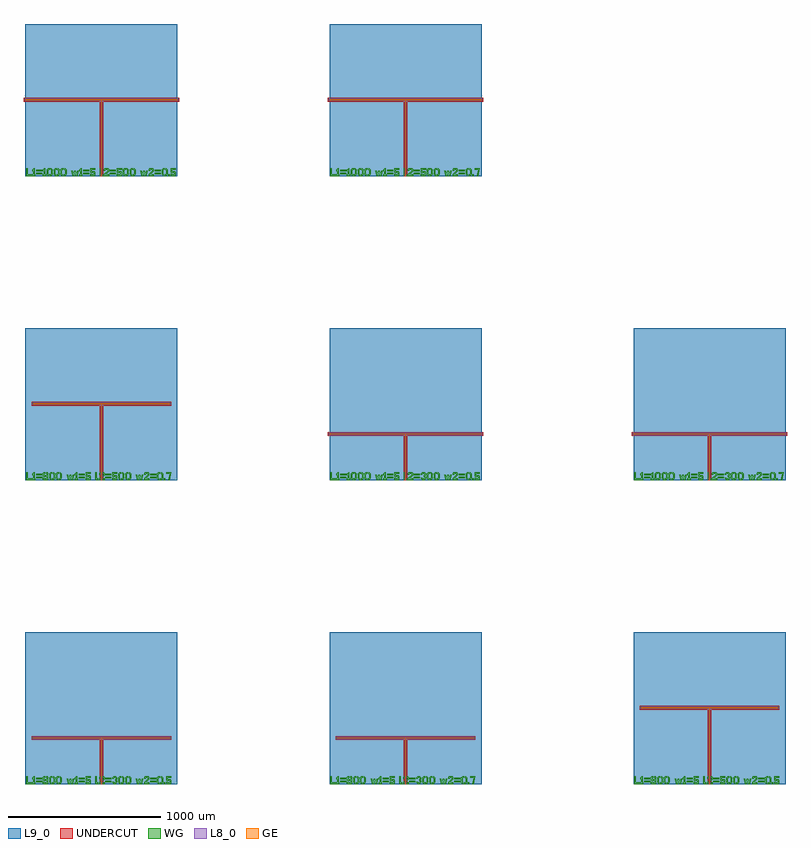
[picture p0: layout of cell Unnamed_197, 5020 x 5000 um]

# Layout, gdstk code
import gdstk
lib = gdstk.Library(unit=1e-6, precision=1e-09)
def R(c, l, rs):  # rectangles x0, y0, x1, y1
    for r in rs: c.add(gdstk.rectangle(r[:2], r[2:], *l))
def P(c, l, *ps):  # polygons
    for p in ps: c.add(gdstk.Polygon(p, *l))
WG = (1, 0)
GE = (5, 0)
UNDERCUT = (6, 0)
L8_0 = (8, 0)
L9_0 = (9, 0)

rectangle_s1010_15_l8_0_ = lib.new_cell('rectangle_S1010_15_L8_0_e804bbd6')
R(rectangle_s1010_15_l8_0_, L8_0, [(0,0,1010,15)])

rectangle_s10p5_495_l8__ = lib.new_cell('rectangle_S10p5_495_L8__a2ef8117')
R(rectangle_s10p5_495_l8__, L8_0, [(0,0,10.5,495)])

rectangle_s1020_25_l6_0_ = lib.new_cell('rectangle_S1020_25_L6_0_10ee7e5b')
R(rectangle_s1020_25_l6_0_, UNDERCUT, [(0,0,1020,25)])

rectangle_s20p5_490_l6__ = lib.new_cell('rectangle_S20p5_490_L6__59c9b7bc')
R(rectangle_s20p5_490_l6__, UNDERCUT, [(0,0,20.5,490)])

rectangle_s1000_5_l5_0__ = lib.new_cell('rectangle_S1000_5_L5_0__84b42d38')
R(rectangle_s1000_5_l5_0__, GE, [(0,0,1000,5)])

rectangle_s0p5_500_l5_0_ = lib.new_cell('rectangle_S0p5_500_L5_0_ba7ba93c')
R(rectangle_s0p5_500_l5_0_, GE, [(0,0,0.5,500)])

unnamed_194 = lib.new_cell('Unnamed_194')
unnamed_194.add(gdstk.Reference(rectangle_s1010_15_l8_0_, (-505,495)))
unnamed_194.add(gdstk.Reference(rectangle_s10p5_495_l8__, (-5.25,0)))
unnamed_194.add(gdstk.Reference(rectangle_s1020_25_l6_0_, (-510,490)))
unnamed_194.add(gdstk.Reference(rectangle_s20p5_490_l6__, (-10.25,0)))
unnamed_194.add(gdstk.Reference(rectangle_s1000_5_l5_0__, (-500,500)))
unnamed_194.add(gdstk.Reference(rectangle_s0p5_500_l5_0_, (-0.25,0)))

rectangle_s0p7_300_l5_0_ = lib.new_cell('rectangle_S0p7_300_L5_0_106584ea')
R(rectangle_s0p7_300_l5_0_, GE, [(0,0,0.7,300)])

rectangle_s20p7_290_l6__ = lib.new_cell('rectangle_S20p7_290_L6__7863e632')
R(rectangle_s20p7_290_l6__, UNDERCUT, [(0,0,20.7,290)])

rectangle_s10p7_295_l8__ = lib.new_cell('rectangle_S10p7_295_L8__5a437f7c')
R(rectangle_s10p7_295_l8__, L8_0, [(0,0,10.7,295)])

unnamed_193 = lib.new_cell('Unnamed_193')
unnamed_193.add(gdstk.Reference(rectangle_s0p7_300_l5_0_, (-0.35,0)))
unnamed_193.add(gdstk.Reference(rectangle_s1020_25_l6_0_, (-510,290)))
unnamed_193.add(gdstk.Reference(rectangle_s20p7_290_l6__, (-10.35,0)))
unnamed_193.add(gdstk.Reference(rectangle_s1000_5_l5_0__, (-500,300)))
unnamed_193.add(gdstk.Reference(rectangle_s1010_15_l8_0_, (-505,295)))
unnamed_193.add(gdstk.Reference(rectangle_s10p7_295_l8__, (-5.35,0)))

text_tl11000_w15_l2300__ = lib.new_cell('text_TL11000_w15_l2300__988f0f13')
R(text_tl11000_w15_l2300__, WG, [(940,0,950,10), (70,10,110,20), (380,10,420,20), (555,10,595,20), (850,10,890,20), (70,30,110,40), (380,30,420,40), (555,30,595,40), (850,30,890,40)])
P(text_tl11000_w15_l2300__, WG, [(970,0),(978,40),(955,40),(955,50),(990,50),(980,0)],
  [(495,0),(490,5),(490,50),(500,50),(500,10),(510,10),(510,0)],
  [(310,0),(300,35),(310,35),(315,17.5),(320,35),(330,35),(335,17.5),(340,35),(350,35),(340,0),(330,0),(325,17.5),(320,0)],
  [(765,0),(755,35),(765,35),(770,17.5),(775,35),(785,35),(790,17.5),(795,35),(805,35),(795,0),(785,0),(780,17.5),(775,0)],
  [(430,0),(425,5),(425,15),(435,15),(435,10),(450,10),(450,20),(430,20),(425,25),(425,50),(460,50),(460,40),(435,40),(435,30),(455,30),(460,25),(460,5),(455,0)],
  [(515,0),(515,10),(540,35),(540,40),(525,40),(525,35),(515,35),(515,45),(520,50),(545,50),(550,45),(550,30),(530,10),(550,10),(550,0)],
  [(810,0),(810,10),(835,35),(835,40),(820,40),(820,35),(810,35),(810,45),(815,50),(840,50),(845,45),(845,30),(825,10),(845,10),(845,0)],
  [(158.5,0),(161,10),(165,10),(170,15),(170,35),(165,40),(167.5,50),(170,50),(180,40),(180,10),(170,0)],
  [(203.5,0),(206,10),(210,10),(215,15),(215,35),(210,40),(212.5,50),(215,50),(225,40),(225,10),(215,0)],
  [(248.5,0),(251,10),(255,10),(260,15),(260,35),(255,40),(257.5,50),(260,50),(270,40),(270,10),(260,0)],
  [(658.5,0),(661,10),(665,10),(670,15),(670,35),(665,40),(667.5,50),(670,50),(680,40),(680,10),(670,0)],
  [(703.5,0),(706,10),(710,10),(715,15),(715,35),(710,40),(712.5,50),(715,50),(725,40),(725,10),(715,0)],
  [(913.5,0),(916,10),(920,10),(925,15),(925,35),(920,40),(922.5,50),(925,50),(935,40),(935,10),(925,0)],
  [(150,0),(140,10),(140,40),(150,50),(161.5,50),(159,40),(155,40),(150,35),(150,15),(155,10),(152.5,0)],
  [(195,0),(185,10),(185,40),(195,50),(206.5,50),(204,40),(200,40),(195,35),(195,15),(200,10),(197.5,0)],
  [(240,0),(230,10),(230,40),(240,50),(251.5,50),(249,40),(245,40),(240,35),(240,15),(245,10),(242.5,0)],
  [(650,0),(640,10),(640,40),(650,50),(661.5,50),(659,40),(655,40),(650,35),(650,15),(655,10),(652.5,0)],
  [(695,0),(685,10),(685,40),(695,50),(706.5,50),(704,40),(700,40),(695,35),(695,15),(700,10),(697.5,0)],
  [(905,0),(895,10),(895,40),(905,50),(916.5,50),(914,40),(910,40),(905,35),(905,15),(910,10),(907.5,0)],
  [(610,0),(600,10),(600,15),(610,15),(615,10),(620,10),(625,15),(620,20),(620,30),(625,35),(620,40),(615,40),(610,35),(600,35),(600,40),(610,50),(625,50),(635,40),(635,30),(630,25),(635,20),(635,10),(625,0)],
  [(5,0),(5,50),(15,50),(15,10),(40,10),(40,0)],
  [(45,0),(45,10),(50,10),(50,30),(45,30),(45,40),(55,50),(60,50),(60,10),(65,10),(65,0)],
  [(115,0),(115,10),(120,10),(120,30),(115,30),(115,40),(125,50),(130,50),(130,10),(135,10),(135,0)],
  [(355,0),(355,10),(360,10),(360,30),(355,30),(355,40),(365,50),(370,50),(370,10),(375,10),(375,0)])

rectangle_s920_25_l6_0__ = lib.new_cell('rectangle_S920_25_L6_0__c2643c97')
R(rectangle_s920_25_l6_0__, UNDERCUT, [(0,0,920,25)])

rectangle_s0p7_500_l5_0_ = lib.new_cell('rectangle_S0p7_500_L5_0_5f5ccab6')
R(rectangle_s0p7_500_l5_0_, GE, [(0,0,0.7,500)])

rectangle_s20p7_490_l6__ = lib.new_cell('rectangle_S20p7_490_L6__c76dff1f')
R(rectangle_s20p7_490_l6__, UNDERCUT, [(0,0,20.7,490)])

rectangle_s900_5_l5_0_c_ = lib.new_cell('rectangle_S900_5_L5_0_C_e98a737c')
R(rectangle_s900_5_l5_0_c_, GE, [(0,0,900,5)])

rectangle_s910_15_l8_0__ = lib.new_cell('rectangle_S910_15_L8_0__1d112a65')
R(rectangle_s910_15_l8_0__, L8_0, [(0,0,910,15)])

rectangle_s10p7_495_l8__ = lib.new_cell('rectangle_S10p7_495_L8__2b4584b7')
R(rectangle_s10p7_495_l8__, L8_0, [(0,0,10.7,495)])

unnamed_191 = lib.new_cell('Unnamed_191')
unnamed_191.add(gdstk.Reference(rectangle_s920_25_l6_0__, (-460,490)))
unnamed_191.add(gdstk.Reference(rectangle_s0p7_500_l5_0_, (-0.35,0)))
unnamed_191.add(gdstk.Reference(rectangle_s20p7_490_l6__, (-10.35,0)))
unnamed_191.add(gdstk.Reference(rectangle_s900_5_l5_0_c_, (-450,500)))
unnamed_191.add(gdstk.Reference(rectangle_s910_15_l8_0__, (-455,495)))
unnamed_191.add(gdstk.Reference(rectangle_s10p7_495_l8__, (-5.35,0)))

text_tl11000_w15_l2500__ = lib.new_cell('text_TL11000_w15_l2500__ddd6ca30')
R(text_tl11000_w15_l2500__, WG, [(940,0,950,10), (70,10,110,20), (380,10,420,20), (555,10,595,20), (850,10,890,20), (70,30,110,40), (380,30,420,40), (555,30,595,40), (850,30,890,40)])
P(text_tl11000_w15_l2500__, WG, [(495,0),(490,5),(490,50),(500,50),(500,10),(510,10),(510,0)],
  [(430,0),(425,5),(425,15),(435,15),(435,10),(450,10),(450,20),(430,20),(425,25),(425,50),(460,50),(460,40),(435,40),(435,30),(455,30),(460,25),(460,5),(455,0)],
  [(605,0),(600,5),(600,15),(610,15),(610,10),(625,10),(625,20),(605,20),(600,25),(600,50),(635,50),(635,40),(610,40),(610,30),(630,30),(635,25),(635,5),(630,0)],
  [(960,0),(955,5),(955,15),(965,15),(965,10),(980,10),(980,20),(960,20),(955,25),(955,50),(990,50),(990,40),(965,40),(965,30),(985,30),(990,25),(990,5),(985,0)],
  [(515,0),(515,10),(540,35),(540,40),(525,40),(525,35),(515,35),(515,45),(520,50),(545,50),(550,45),(550,30),(530,10),(550,10),(550,0)],
  [(810,0),(810,10),(835,35),(835,40),(820,40),(820,35),(810,35),(810,45),(815,50),(840,50),(845,45),(845,30),(825,10),(845,10),(845,0)],
  [(158.5,0),(161,10),(165,10),(170,15),(170,35),(165,40),(167.5,50),(170,50),(180,40),(180,10),(170,0)],
  [(203.5,0),(206,10),(210,10),(215,15),(215,35),(210,40),(212.5,50),(215,50),(225,40),(225,10),(215,0)],
  [(248.5,0),(251,10),(255,10),(260,15),(260,35),(255,40),(257.5,50),(260,50),(270,40),(270,10),(260,0)],
  [(658.5,0),(661,10),(665,10),(670,15),(670,35),(665,40),(667.5,50),(670,50),(680,40),(680,10),(670,0)],
  [(703.5,0),(706,10),(710,10),(715,15),(715,35),(710,40),(712.5,50),(715,50),(725,40),(725,10),(715,0)],
  [(913.5,0),(916,10),(920,10),(925,15),(925,35),(920,40),(922.5,50),(925,50),(935,40),(935,10),(925,0)],
  [(150,0),(140,10),(140,40),(150,50),(161.5,50),(159,40),(155,40),(150,35),(150,15),(155,10),(152.5,0)],
  [(195,0),(185,10),(185,40),(195,50),(206.5,50),(204,40),(200,40),(195,35),(195,15),(200,10),(197.5,0)],
  [(240,0),(230,10),(230,40),(240,50),(251.5,50),(249,40),(245,40),(240,35),(240,15),(245,10),(242.5,0)],
  [(650,0),(640,10),(640,40),(650,50),(661.5,50),(659,40),(655,40),(650,35),(650,15),(655,10),(652.5,0)],
  [(695,0),(685,10),(685,40),(695,50),(706.5,50),(704,40),(700,40),(695,35),(695,15),(700,10),(697.5,0)],
  [(905,0),(895,10),(895,40),(905,50),(916.5,50),(914,40),(910,40),(905,35),(905,15),(910,10),(907.5,0)],
  [(5,0),(5,50),(15,50),(15,10),(40,10),(40,0)],
  [(310,0),(300,35),(310,35),(315,17.5),(320,35),(330,35),(335,17.5),(340,35),(350,35),(340,0),(330,0),(325,17.5),(320,0)],
  [(765,0),(755,35),(765,35),(770,17.5),(775,35),(785,35),(790,17.5),(795,35),(805,35),(795,0),(785,0),(780,17.5),(775,0)],
  [(45,0),(45,10),(50,10),(50,30),(45,30),(45,40),(55,50),(60,50),(60,10),(65,10),(65,0)],
  [(115,0),(115,10),(120,10),(120,30),(115,30),(115,40),(125,50),(130,50),(130,10),(135,10),(135,0)],
  [(355,0),(355,10),(360,10),(360,30),(355,30),(355,40),(365,50),(370,50),(370,10),(375,10),(375,0)])

text_tl1900_w15_l2500_w_ = lib.new_cell('text_TL1900_w15_l2500_w_6159fc1c')
R(text_tl1900_w15_l2500_w_, WG, [(910,0,920,10), (70,10,110,20), (350,10,390,20), (525,10,565,20), (820,10,860,20), (70,30,110,40), (350,30,390,40), (525,30,565,40), (820,30,860,40)])
P(text_tl1900_w15_l2500_w_, WG, [(465,0),(460,5),(460,50),(470,50),(470,10),(480,10),(480,0)],
  [(400,0),(395,5),(395,15),(405,15),(405,10),(420,10),(420,20),(400,20),(395,25),(395,50),(430,50),(430,40),(405,40),(405,30),(425,30),(430,25),(430,5),(425,0)],
  [(575,0),(570,5),(570,15),(580,15),(580,10),(595,10),(595,20),(575,20),(570,25),(570,50),(605,50),(605,40),(580,40),(580,30),(600,30),(605,25),(605,5),(600,0)],
  [(930,0),(925,5),(925,15),(935,15),(935,10),(950,10),(950,20),(930,20),(925,25),(925,50),(960,50),(960,40),(935,40),(935,30),(955,30),(960,25),(960,5),(955,0)],
  [(485,0),(485,10),(510,35),(510,40),(495,40),(495,35),(485,35),(485,45),(490,50),(515,50),(520,45),(520,30),(500,10),(520,10),(520,0)],
  [(780,0),(780,10),(805,35),(805,40),(790,40),(790,35),(780,35),(780,45),(785,50),(810,50),(815,45),(815,30),(795,10),(815,10),(815,0)],
  [(173.5,0),(176,10),(180,10),(185,15),(185,35),(180,40),(182.5,50),(185,50),(195,40),(195,10),(185,0)],
  [(218.5,0),(221,10),(225,10),(230,15),(230,35),(225,40),(227.5,50),(230,50),(240,40),(240,10),(230,0)],
  [(628.5,0),(631,10),(635,10),(640,15),(640,35),(635,40),(637.5,50),(640,50),(650,40),(650,10),(640,0)],
  [(673.5,0),(676,10),(680,10),(685,15),(685,35),(680,40),(682.5,50),(685,50),(695,40),(695,10),(685,0)],
  [(883.5,0),(886,10),(890,10),(895,15),(895,35),(890,40),(892.5,50),(895,50),(905,40),(905,10),(895,0)],
  [(165,0),(155,10),(155,40),(165,50),(176.5,50),(174,40),(170,40),(165,35),(165,15),(170,10),(167.5,0)],
  [(210,0),(200,10),(200,40),(210,50),(221.5,50),(219,40),(215,40),(210,35),(210,15),(215,10),(212.5,0)],
  [(620,0),(610,10),(610,40),(620,50),(631.5,50),(629,40),(625,40),(620,35),(620,15),(625,10),(622.5,0)],
  [(665,0),(655,10),(655,40),(665,50),(676.5,50),(674,40),(670,40),(665,35),(665,15),(670,10),(667.5,0)],
  [(875,0),(865,10),(865,40),(875,50),(886.5,50),(884,40),(880,40),(875,35),(875,15),(880,10),(877.5,0)],
  [(120,0),(115,5),(115,15),(125,15),(125,10),(140,10),(140,20),(120,20),(115,25),(115,45),(120,50),(130,50),(130,40),(125,40),(125,30),(140,30),(140,40),(135,40),(135,50),(145,50),(150,45),(150,5),(145,0)],
  [(5,0),(5,50),(15,50),(15,10),(40,10),(40,0)],
  [(280,0),(270,35),(280,35),(285,17.5),(290,35),(300,35),(305,17.5),(310,35),(320,35),(310,0),(300,0),(295,17.5),(290,0)],
  [(735,0),(725,35),(735,35),(740,17.5),(745,35),(755,35),(760,17.5),(765,35),(775,35),(765,0),(755,0),(750,17.5),(745,0)],
  [(45,0),(45,10),(50,10),(50,30),(45,30),(45,40),(55,50),(60,50),(60,10),(65,10),(65,0)],
  [(325,0),(325,10),(330,10),(330,30),(325,30),(325,40),(335,50),(340,50),(340,10),(345,10),(345,0)])

c_text_tl11000_w15_l2500__ = lib.new_cell('text_TL11000_w15_l2500__31f6771c')
R(c_text_tl11000_w15_l2500__, WG, [(940,0,950,10), (70,10,110,20), (380,10,420,20), (555,10,595,20), (850,10,890,20), (70,30,110,40), (380,30,420,40), (555,30,595,40), (850,30,890,40)])
P(c_text_tl11000_w15_l2500__, WG, [(970,0),(978,40),(955,40),(955,50),(990,50),(980,0)],
  [(495,0),(490,5),(490,50),(500,50),(500,10),(510,10),(510,0)],
  [(430,0),(425,5),(425,15),(435,15),(435,10),(450,10),(450,20),(430,20),(425,25),(425,50),(460,50),(460,40),(435,40),(435,30),(455,30),(460,25),(460,5),(455,0)],
  [(605,0),(600,5),(600,15),(610,15),(610,10),(625,10),(625,20),(605,20),(600,25),(600,50),(635,50),(635,40),(610,40),(610,30),(630,30),(635,25),(635,5),(630,0)],
  [(515,0),(515,10),(540,35),(540,40),(525,40),(525,35),(515,35),(515,45),(520,50),(545,50),(550,45),(550,30),(530,10),(550,10),(550,0)],
  [(810,0),(810,10),(835,35),(835,40),(820,40),(820,35),(810,35),(810,45),(815,50),(840,50),(845,45),(845,30),(825,10),(845,10),(845,0)],
  [(158.5,0),(161,10),(165,10),(170,15),(170,35),(165,40),(167.5,50),(170,50),(180,40),(180,10),(170,0)],
  [(203.5,0),(206,10),(210,10),(215,15),(215,35),(210,40),(212.5,50),(215,50),(225,40),(225,10),(215,0)],
  [(248.5,0),(251,10),(255,10),(260,15),(260,35),(255,40),(257.5,50),(260,50),(270,40),(270,10),(260,0)],
  [(658.5,0),(661,10),(665,10),(670,15),(670,35),(665,40),(667.5,50),(670,50),(680,40),(680,10),(670,0)],
  [(703.5,0),(706,10),(710,10),(715,15),(715,35),(710,40),(712.5,50),(715,50),(725,40),(725,10),(715,0)],
  [(913.5,0),(916,10),(920,10),(925,15),(925,35),(920,40),(922.5,50),(925,50),(935,40),(935,10),(925,0)],
  [(150,0),(140,10),(140,40),(150,50),(161.5,50),(159,40),(155,40),(150,35),(150,15),(155,10),(152.5,0)],
  [(195,0),(185,10),(185,40),(195,50),(206.5,50),(204,40),(200,40),(195,35),(195,15),(200,10),(197.5,0)],
  [(240,0),(230,10),(230,40),(240,50),(251.5,50),(249,40),(245,40),(240,35),(240,15),(245,10),(242.5,0)],
  [(650,0),(640,10),(640,40),(650,50),(661.5,50),(659,40),(655,40),(650,35),(650,15),(655,10),(652.5,0)],
  [(695,0),(685,10),(685,40),(695,50),(706.5,50),(704,40),(700,40),(695,35),(695,15),(700,10),(697.5,0)],
  [(905,0),(895,10),(895,40),(905,50),(916.5,50),(914,40),(910,40),(905,35),(905,15),(910,10),(907.5,0)],
  [(5,0),(5,50),(15,50),(15,10),(40,10),(40,0)],
  [(310,0),(300,35),(310,35),(315,17.5),(320,35),(330,35),(335,17.5),(340,35),(350,35),(340,0),(330,0),(325,17.5),(320,0)],
  [(765,0),(755,35),(765,35),(770,17.5),(775,35),(785,35),(790,17.5),(795,35),(805,35),(795,0),(785,0),(780,17.5),(775,0)],
  [(45,0),(45,10),(50,10),(50,30),(45,30),(45,40),(55,50),(60,50),(60,10),(65,10),(65,0)],
  [(115,0),(115,10),(120,10),(120,30),(115,30),(115,40),(125,50),(130,50),(130,10),(135,10),(135,0)],
  [(355,0),(355,10),(360,10),(360,30),(355,30),(355,40),(365,50),(370,50),(370,10),(375,10),(375,0)])

unnamed_189 = lib.new_cell('Unnamed_189')
unnamed_189.add(gdstk.Reference(rectangle_s910_15_l8_0__, (-455,295)))
unnamed_189.add(gdstk.Reference(rectangle_s0p7_300_l5_0_, (-0.35,0)))
unnamed_189.add(gdstk.Reference(rectangle_s20p7_290_l6__, (-10.35,0)))
unnamed_189.add(gdstk.Reference(rectangle_s900_5_l5_0_c_, (-450,300)))
unnamed_189.add(gdstk.Reference(rectangle_s10p7_295_l8__, (-5.35,0)))
unnamed_189.add(gdstk.Reference(rectangle_s920_25_l6_0__, (-460,290)))

rectangle_s10p5_295_l8__ = lib.new_cell('rectangle_S10p5_295_L8__ffa8a64a')
R(rectangle_s10p5_295_l8__, L8_0, [(0,0,10.5,295)])

rectangle_s20p5_290_l6__ = lib.new_cell('rectangle_S20p5_290_L6__af2a2720')
R(rectangle_s20p5_290_l6__, UNDERCUT, [(0,0,20.5,290)])

rectangle_s0p5_300_l5_0_ = lib.new_cell('rectangle_S0p5_300_L5_0_bcf38b65')
R(rectangle_s0p5_300_l5_0_, GE, [(0,0,0.5,300)])

unnamed_192 = lib.new_cell('Unnamed_192')
unnamed_192.add(gdstk.Reference(rectangle_s1010_15_l8_0_, (-505,295)))
unnamed_192.add(gdstk.Reference(rectangle_s10p5_295_l8__, (-5.25,0)))
unnamed_192.add(gdstk.Reference(rectangle_s1000_5_l5_0__, (-500,300)))
unnamed_192.add(gdstk.Reference(rectangle_s1020_25_l6_0_, (-510,290)))
unnamed_192.add(gdstk.Reference(rectangle_s20p5_290_l6__, (-10.25,0)))
unnamed_192.add(gdstk.Reference(rectangle_s0p5_300_l5_0_, (-0.25,0)))

c_text_tl11000_w15_l2300__ = lib.new_cell('text_TL11000_w15_l2300__62ea363a')
R(c_text_tl11000_w15_l2300__, WG, [(940,0,950,10), (70,10,110,20), (380,10,420,20), (555,10,595,20), (850,10,890,20), (70,30,110,40), (380,30,420,40), (555,30,595,40), (850,30,890,40)])
P(c_text_tl11000_w15_l2300__, WG, [(495,0),(490,5),(490,50),(500,50),(500,10),(510,10),(510,0)],
  [(430,0),(425,5),(425,15),(435,15),(435,10),(450,10),(450,20),(430,20),(425,25),(425,50),(460,50),(460,40),(435,40),(435,30),(455,30),(460,25),(460,5),(455,0)],
  [(960,0),(955,5),(955,15),(965,15),(965,10),(980,10),(980,20),(960,20),(955,25),(955,50),(990,50),(990,40),(965,40),(965,30),(985,30),(990,25),(990,5),(985,0)],
  [(515,0),(515,10),(540,35),(540,40),(525,40),(525,35),(515,35),(515,45),(520,50),(545,50),(550,45),(550,30),(530,10),(550,10),(550,0)],
  [(810,0),(810,10),(835,35),(835,40),(820,40),(820,35),(810,35),(810,45),(815,50),(840,50),(845,45),(845,30),(825,10),(845,10),(845,0)],
  [(158.5,0),(161,10),(165,10),(170,15),(170,35),(165,40),(167.5,50),(170,50),(180,40),(180,10),(170,0)],
  [(203.5,0),(206,10),(210,10),(215,15),(215,35),(210,40),(212.5,50),(215,50),(225,40),(225,10),(215,0)],
  [(248.5,0),(251,10),(255,10),(260,15),(260,35),(255,40),(257.5,50),(260,50),(270,40),(270,10),(260,0)],
  [(658.5,0),(661,10),(665,10),(670,15),(670,35),(665,40),(667.5,50),(670,50),(680,40),(680,10),(670,0)],
  [(703.5,0),(706,10),(710,10),(715,15),(715,35),(710,40),(712.5,50),(715,50),(725,40),(725,10),(715,0)],
  [(913.5,0),(916,10),(920,10),(925,15),(925,35),(920,40),(922.5,50),(925,50),(935,40),(935,10),(925,0)],
  [(150,0),(140,10),(140,40),(150,50),(161.5,50),(159,40),(155,40),(150,35),(150,15),(155,10),(152.5,0)],
  [(195,0),(185,10),(185,40),(195,50),(206.5,50),(204,40),(200,40),(195,35),(195,15),(200,10),(197.5,0)],
  [(240,0),(230,10),(230,40),(240,50),(251.5,50),(249,40),(245,40),(240,35),(240,15),(245,10),(242.5,0)],
  [(650,0),(640,10),(640,40),(650,50),(661.5,50),(659,40),(655,40),(650,35),(650,15),(655,10),(652.5,0)],
  [(695,0),(685,10),(685,40),(695,50),(706.5,50),(704,40),(700,40),(695,35),(695,15),(700,10),(697.5,0)],
  [(905,0),(895,10),(895,40),(905,50),(916.5,50),(914,40),(910,40),(905,35),(905,15),(910,10),(907.5,0)],
  [(610,0),(600,10),(600,15),(610,15),(615,10),(620,10),(625,15),(620,20),(620,30),(625,35),(620,40),(615,40),(610,35),(600,35),(600,40),(610,50),(625,50),(635,40),(635,30),(630,25),(635,20),(635,10),(625,0)],
  [(5,0),(5,50),(15,50),(15,10),(40,10),(40,0)],
  [(310,0),(300,35),(310,35),(315,17.5),(320,35),(330,35),(335,17.5),(340,35),(350,35),(340,0),(330,0),(325,17.5),(320,0)],
  [(765,0),(755,35),(765,35),(770,17.5),(775,35),(785,35),(790,17.5),(795,35),(805,35),(795,0),(785,0),(780,17.5),(775,0)],
  [(45,0),(45,10),(50,10),(50,30),(45,30),(45,40),(55,50),(60,50),(60,10),(65,10),(65,0)],
  [(115,0),(115,10),(120,10),(120,30),(115,30),(115,40),(125,50),(130,50),(130,10),(135,10),(135,0)],
  [(355,0),(355,10),(360,10),(360,30),(355,30),(355,40),(365,50),(370,50),(370,10),(375,10),(375,0)])

unnamed_190 = lib.new_cell('Unnamed_190')
unnamed_190.add(gdstk.Reference(rectangle_s910_15_l8_0__, (-455,495)))
unnamed_190.add(gdstk.Reference(rectangle_s10p5_495_l8__, (-5.25,0)))
unnamed_190.add(gdstk.Reference(rectangle_s920_25_l6_0__, (-460,490)))
unnamed_190.add(gdstk.Reference(rectangle_s20p5_490_l6__, (-10.25,0)))
unnamed_190.add(gdstk.Reference(rectangle_s900_5_l5_0_c_, (-450,500)))
unnamed_190.add(gdstk.Reference(rectangle_s0p5_500_l5_0_, (-0.25,0)))

rectangle_s1000_1000_l9_ = lib.new_cell('rectangle_S1000_1000_L9_afc64d79')
R(rectangle_s1000_1000_l9_, L9_0, [(0,0,1000,1000)])

text_tl1900_w15_l2300_w_ = lib.new_cell('text_TL1900_w15_l2300_w_2903ba0f')
R(text_tl1900_w15_l2300_w_, WG, [(910,0,920,10), (70,10,110,20), (350,10,390,20), (525,10,565,20), (820,10,860,20), (70,30,110,40), (350,30,390,40), (525,30,565,40), (820,30,860,40)])
P(text_tl1900_w15_l2300_w_, WG, [(465,0),(460,5),(460,50),(470,50),(470,10),(480,10),(480,0)],
  [(280,0),(270,35),(280,35),(285,17.5),(290,35),(300,35),(305,17.5),(310,35),(320,35),(310,0),(300,0),(295,17.5),(290,0)],
  [(735,0),(725,35),(735,35),(740,17.5),(745,35),(755,35),(760,17.5),(765,35),(775,35),(765,0),(755,0),(750,17.5),(745,0)],
  [(400,0),(395,5),(395,15),(405,15),(405,10),(420,10),(420,20),(400,20),(395,25),(395,50),(430,50),(430,40),(405,40),(405,30),(425,30),(430,25),(430,5),(425,0)],
  [(485,0),(485,10),(510,35),(510,40),(495,40),(495,35),(485,35),(485,45),(490,50),(515,50),(520,45),(520,30),(500,10),(520,10),(520,0)],
  [(780,0),(780,10),(805,35),(805,40),(790,40),(790,35),(780,35),(780,45),(785,50),(810,50),(815,45),(815,30),(795,10),(815,10),(815,0)],
  [(173.5,0),(176,10),(180,10),(185,15),(185,35),(180,40),(182.5,50),(185,50),(195,40),(195,10),(185,0)],
  [(218.5,0),(221,10),(225,10),(230,15),(230,35),(225,40),(227.5,50),(230,50),(240,40),(240,10),(230,0)],
  [(628.5,0),(631,10),(635,10),(640,15),(640,35),(635,40),(637.5,50),(640,50),(650,40),(650,10),(640,0)],
  [(673.5,0),(676,10),(680,10),(685,15),(685,35),(680,40),(682.5,50),(685,50),(695,40),(695,10),(685,0)],
  [(883.5,0),(886,10),(890,10),(895,15),(895,35),(890,40),(892.5,50),(895,50),(905,40),(905,10),(895,0)],
  [(580,0),(570,10),(570,15),(580,15),(585,10),(590,10),(595,15),(590,20),(590,30),(595,35),(590,40),(585,40),(580,35),(570,35),(570,40),(580,50),(595,50),(605,40),(605,30),(600,25),(605,20),(605,10),(595,0)],
  [(165,0),(155,10),(155,40),(165,50),(176.5,50),(174,40),(170,40),(165,35),(165,15),(170,10),(167.5,0)],
  [(210,0),(200,10),(200,40),(210,50),(221.5,50),(219,40),(215,40),(210,35),(210,15),(215,10),(212.5,0)],
  [(620,0),(610,10),(610,40),(620,50),(631.5,50),(629,40),(625,40),(620,35),(620,15),(625,10),(622.5,0)],
  [(665,0),(655,10),(655,40),(665,50),(676.5,50),(674,40),(670,40),(665,35),(665,15),(670,10),(667.5,0)],
  [(875,0),(865,10),(865,40),(875,50),(886.5,50),(884,40),(880,40),(875,35),(875,15),(880,10),(877.5,0)],
  [(940,0),(948,40),(925,40),(925,50),(960,50),(950,0)],
  [(120,0),(115,5),(115,15),(125,15),(125,10),(140,10),(140,20),(120,20),(115,25),(115,45),(120,50),(130,50),(130,40),(125,40),(125,30),(140,30),(140,40),(135,40),(135,50),(145,50),(150,45),(150,5),(145,0)],
  [(5,0),(5,50),(15,50),(15,10),(40,10),(40,0)],
  [(45,0),(45,10),(50,10),(50,30),(45,30),(45,40),(55,50),(60,50),(60,10),(65,10),(65,0)],
  [(325,0),(325,10),(330,10),(330,30),(325,30),(325,40),(335,50),(340,50),(340,10),(345,10),(345,0)])

unnamed_188 = lib.new_cell('Unnamed_188')
unnamed_188.add(gdstk.Reference(rectangle_s910_15_l8_0__, (-455,295)))
unnamed_188.add(gdstk.Reference(rectangle_s10p5_295_l8__, (-5.25,0)))
unnamed_188.add(gdstk.Reference(rectangle_s920_25_l6_0__, (-460,290)))
unnamed_188.add(gdstk.Reference(rectangle_s0p5_300_l5_0_, (-0.25,0)))
unnamed_188.add(gdstk.Reference(rectangle_s900_5_l5_0_c_, (-450,300)))
unnamed_188.add(gdstk.Reference(rectangle_s20p5_290_l6__, (-10.25,0)))

c_text_tl1900_w15_l2300_w_ = lib.new_cell('text_TL1900_w15_l2300_w_1acd419d')
R(c_text_tl1900_w15_l2300_w_, WG, [(910,0,920,10), (70,10,110,20), (350,10,390,20), (525,10,565,20), (820,10,860,20), (70,30,110,40), (350,30,390,40), (525,30,565,40), (820,30,860,40)])
P(c_text_tl1900_w15_l2300_w_, WG, [(465,0),(460,5),(460,50),(470,50),(470,10),(480,10),(480,0)],
  [(280,0),(270,35),(280,35),(285,17.5),(290,35),(300,35),(305,17.5),(310,35),(320,35),(310,0),(300,0),(295,17.5),(290,0)],
  [(735,0),(725,35),(735,35),(740,17.5),(745,35),(755,35),(760,17.5),(765,35),(775,35),(765,0),(755,0),(750,17.5),(745,0)],
  [(400,0),(395,5),(395,15),(405,15),(405,10),(420,10),(420,20),(400,20),(395,25),(395,50),(430,50),(430,40),(405,40),(405,30),(425,30),(430,25),(430,5),(425,0)],
  [(930,0),(925,5),(925,15),(935,15),(935,10),(950,10),(950,20),(930,20),(925,25),(925,50),(960,50),(960,40),(935,40),(935,30),(955,30),(960,25),(960,5),(955,0)],
  [(485,0),(485,10),(510,35),(510,40),(495,40),(495,35),(485,35),(485,45),(490,50),(515,50),(520,45),(520,30),(500,10),(520,10),(520,0)],
  [(780,0),(780,10),(805,35),(805,40),(790,40),(790,35),(780,35),(780,45),(785,50),(810,50),(815,45),(815,30),(795,10),(815,10),(815,0)],
  [(173.5,0),(176,10),(180,10),(185,15),(185,35),(180,40),(182.5,50),(185,50),(195,40),(195,10),(185,0)],
  [(218.5,0),(221,10),(225,10),(230,15),(230,35),(225,40),(227.5,50),(230,50),(240,40),(240,10),(230,0)],
  [(628.5,0),(631,10),(635,10),(640,15),(640,35),(635,40),(637.5,50),(640,50),(650,40),(650,10),(640,0)],
  [(673.5,0),(676,10),(680,10),(685,15),(685,35),(680,40),(682.5,50),(685,50),(695,40),(695,10),(685,0)],
  [(883.5,0),(886,10),(890,10),(895,15),(895,35),(890,40),(892.5,50),(895,50),(905,40),(905,10),(895,0)],
  [(580,0),(570,10),(570,15),(580,15),(585,10),(590,10),(595,15),(590,20),(590,30),(595,35),(590,40),(585,40),(580,35),(570,35),(570,40),(580,50),(595,50),(605,40),(605,30),(600,25),(605,20),(605,10),(595,0)],
  [(165,0),(155,10),(155,40),(165,50),(176.5,50),(174,40),(170,40),(165,35),(165,15),(170,10),(167.5,0)],
  [(210,0),(200,10),(200,40),(210,50),(221.5,50),(219,40),(215,40),(210,35),(210,15),(215,10),(212.5,0)],
  [(620,0),(610,10),(610,40),(620,50),(631.5,50),(629,40),(625,40),(620,35),(620,15),(625,10),(622.5,0)],
  [(665,0),(655,10),(655,40),(665,50),(676.5,50),(674,40),(670,40),(665,35),(665,15),(670,10),(667.5,0)],
  [(875,0),(865,10),(865,40),(875,50),(886.5,50),(884,40),(880,40),(875,35),(875,15),(880,10),(877.5,0)],
  [(120,0),(115,5),(115,15),(125,15),(125,10),(140,10),(140,20),(120,20),(115,25),(115,45),(120,50),(130,50),(130,40),(125,40),(125,30),(140,30),(140,40),(135,40),(135,50),(145,50),(150,45),(150,5),(145,0)],
  [(5,0),(5,50),(15,50),(15,10),(40,10),(40,0)],
  [(45,0),(45,10),(50,10),(50,30),(45,30),(45,40),(55,50),(60,50),(60,10),(65,10),(65,0)],
  [(325,0),(325,10),(330,10),(330,30),(325,30),(325,40),(335,50),(340,50),(340,10),(345,10),(345,0)])

unnamed_195 = lib.new_cell('Unnamed_195')
unnamed_195.add(gdstk.Reference(rectangle_s1010_15_l8_0_, (-505,495)))
unnamed_195.add(gdstk.Reference(rectangle_s1020_25_l6_0_, (-510,490)))
unnamed_195.add(gdstk.Reference(rectangle_s0p7_500_l5_0_, (-0.35,0)))
unnamed_195.add(gdstk.Reference(rectangle_s20p7_490_l6__, (-10.35,0)))
unnamed_195.add(gdstk.Reference(rectangle_s1000_5_l5_0__, (-500,500)))
unnamed_195.add(gdstk.Reference(rectangle_s10p7_495_l8__, (-5.35,0)))

c_text_tl1900_w15_l2500_w_ = lib.new_cell('text_TL1900_w15_l2500_w_cfd87cce')
R(c_text_tl1900_w15_l2500_w_, WG, [(910,0,920,10), (70,10,110,20), (350,10,390,20), (525,10,565,20), (820,10,860,20), (70,30,110,40), (350,30,390,40), (525,30,565,40), (820,30,860,40)])
P(c_text_tl1900_w15_l2500_w_, WG, [(465,0),(460,5),(460,50),(470,50),(470,10),(480,10),(480,0)],
  [(280,0),(270,35),(280,35),(285,17.5),(290,35),(300,35),(305,17.5),(310,35),(320,35),(310,0),(300,0),(295,17.5),(290,0)],
  [(735,0),(725,35),(735,35),(740,17.5),(745,35),(755,35),(760,17.5),(765,35),(775,35),(765,0),(755,0),(750,17.5),(745,0)],
  [(400,0),(395,5),(395,15),(405,15),(405,10),(420,10),(420,20),(400,20),(395,25),(395,50),(430,50),(430,40),(405,40),(405,30),(425,30),(430,25),(430,5),(425,0)],
  [(575,0),(570,5),(570,15),(580,15),(580,10),(595,10),(595,20),(575,20),(570,25),(570,50),(605,50),(605,40),(580,40),(580,30),(600,30),(605,25),(605,5),(600,0)],
  [(485,0),(485,10),(510,35),(510,40),(495,40),(495,35),(485,35),(485,45),(490,50),(515,50),(520,45),(520,30),(500,10),(520,10),(520,0)],
  [(780,0),(780,10),(805,35),(805,40),(790,40),(790,35),(780,35),(780,45),(785,50),(810,50),(815,45),(815,30),(795,10),(815,10),(815,0)],
  [(173.5,0),(176,10),(180,10),(185,15),(185,35),(180,40),(182.5,50),(185,50),(195,40),(195,10),(185,0)],
  [(218.5,0),(221,10),(225,10),(230,15),(230,35),(225,40),(227.5,50),(230,50),(240,40),(240,10),(230,0)],
  [(628.5,0),(631,10),(635,10),(640,15),(640,35),(635,40),(637.5,50),(640,50),(650,40),(650,10),(640,0)],
  [(673.5,0),(676,10),(680,10),(685,15),(685,35),(680,40),(682.5,50),(685,50),(695,40),(695,10),(685,0)],
  [(883.5,0),(886,10),(890,10),(895,15),(895,35),(890,40),(892.5,50),(895,50),(905,40),(905,10),(895,0)],
  [(165,0),(155,10),(155,40),(165,50),(176.5,50),(174,40),(170,40),(165,35),(165,15),(170,10),(167.5,0)],
  [(210,0),(200,10),(200,40),(210,50),(221.5,50),(219,40),(215,40),(210,35),(210,15),(215,10),(212.5,0)],
  [(620,0),(610,10),(610,40),(620,50),(631.5,50),(629,40),(625,40),(620,35),(620,15),(625,10),(622.5,0)],
  [(665,0),(655,10),(655,40),(665,50),(676.5,50),(674,40),(670,40),(665,35),(665,15),(670,10),(667.5,0)],
  [(875,0),(865,10),(865,40),(875,50),(886.5,50),(884,40),(880,40),(875,35),(875,15),(880,10),(877.5,0)],
  [(940,0),(948,40),(925,40),(925,50),(960,50),(950,0)],
  [(120,0),(115,5),(115,15),(125,15),(125,10),(140,10),(140,20),(120,20),(115,25),(115,45),(120,50),(130,50),(130,40),(125,40),(125,30),(140,30),(140,40),(135,40),(135,50),(145,50),(150,45),(150,5),(145,0)],
  [(5,0),(5,50),(15,50),(15,10),(40,10),(40,0)],
  [(45,0),(45,10),(50,10),(50,30),(45,30),(45,40),(55,50),(60,50),(60,10),(65,10),(65,0)],
  [(325,0),(325,10),(330,10),(330,30),(325,30),(325,40),(335,50),(340,50),(340,10),(345,10),(345,0)])

unnamed_197 = lib.new_cell('Unnamed_197')
unnamed_197.add(gdstk.Reference(unnamed_194, (500,4000)))
unnamed_197.add(gdstk.Reference(unnamed_193, (4500,2000)))
unnamed_197.add(gdstk.Reference(text_tl11000_w15_l2300__, (4000,2000)))
unnamed_197.add(gdstk.Reference(unnamed_191, (500,2000)))
unnamed_197.add(gdstk.Reference(text_tl11000_w15_l2500__, (0,4000)))
unnamed_197.add(gdstk.Reference(text_tl1900_w15_l2500_w_, (4000,0)))
unnamed_197.add(gdstk.Reference(c_text_tl11000_w15_l2500__, (2000,4000)))
unnamed_197.add(gdstk.Reference(unnamed_189, (2500,0)))
unnamed_197.add(gdstk.Reference(unnamed_192, (2500,2000)))
unnamed_197.add(gdstk.Reference(c_text_tl11000_w15_l2300__, (2000,2000)))
unnamed_197.add(gdstk.Reference(unnamed_190, (4500,0)))
unnamed_197.add(gdstk.Reference(rectangle_s1000_1000_l9_, (0,0)))
unnamed_197.add(gdstk.Reference(rectangle_s1000_1000_l9_, (2000,0)))
unnamed_197.add(gdstk.Reference(rectangle_s1000_1000_l9_, (4000,0)))
unnamed_197.add(gdstk.Reference(rectangle_s1000_1000_l9_, (0,2000)))
unnamed_197.add(gdstk.Reference(rectangle_s1000_1000_l9_, (2000,2000)))
unnamed_197.add(gdstk.Reference(rectangle_s1000_1000_l9_, (4000,2000)))
unnamed_197.add(gdstk.Reference(rectangle_s1000_1000_l9_, (0,4000)))
unnamed_197.add(gdstk.Reference(rectangle_s1000_1000_l9_, (2000,4000)))
unnamed_197.add(gdstk.Reference(text_tl1900_w15_l2300_w_, (2000,0)))
unnamed_197.add(gdstk.Reference(unnamed_188, (500,0)))
unnamed_197.add(gdstk.Reference(c_text_tl1900_w15_l2300_w_, (0,0)))
unnamed_197.add(gdstk.Reference(unnamed_195, (2500,4000)))
unnamed_197.add(gdstk.Reference(c_text_tl1900_w15_l2500_w_, (0,2000)))

lib.write_gds('Unnamed_197.gds')
